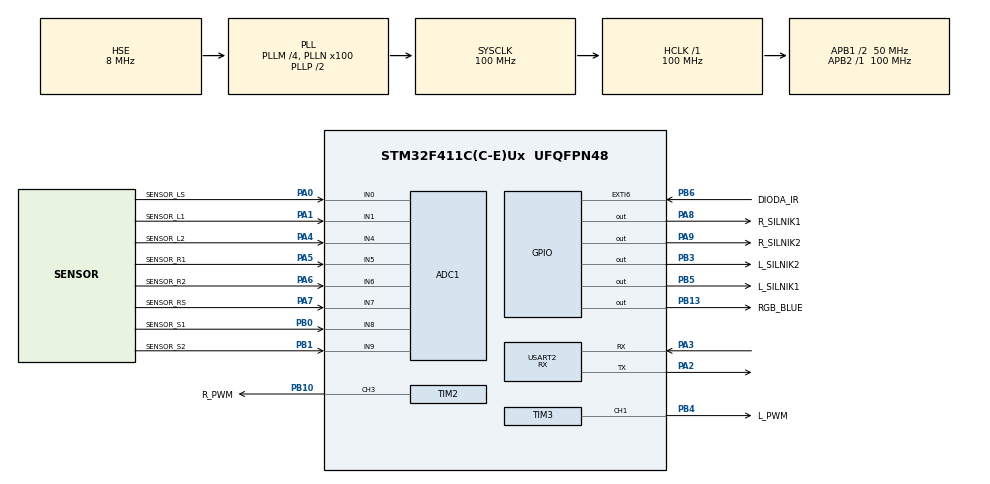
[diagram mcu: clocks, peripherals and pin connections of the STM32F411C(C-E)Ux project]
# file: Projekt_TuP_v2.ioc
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ADC1.Channel-0\#ChannelRegularConversion=ADC_CHANNEL_0
ADC1.Channel-1\#ChannelRegularConversion=ADC_CHANNEL_1
ADC1.Channel-2\#ChannelRegularConversion=ADC_CHANNEL_4
ADC1.Channel-3\#ChannelRegularConversion=ADC_CHANNEL_8
ADC1.Channel-4\#ChannelRegularConversion=ADC_CHANNEL_9
ADC1.Channel-5\#ChannelRegularConversion=ADC_CHANNEL_5
ADC1.Channel-6\#ChannelRegularConversion=ADC_CHANNEL_6
ADC1.Channel-7\#ChannelRegularConversion=ADC_CHANNEL_7
ADC1.ClockPrescaler=ADC_CLOCK_SYNC_PCLK_DIV8
ADC1.ContinuousConvMode=ENABLE
ADC1.DMAContinuousRequests=ENABLE
ADC1.InjNumberOfConversion=0
ADC1.NbrOfConversion=8
ADC1.NbrOfConversionFlag=1
ADC1.Rank-0\#ChannelRegularConversion=1
ADC1.Rank-1\#ChannelRegularConversion=2
ADC1.Rank-2\#ChannelRegularConversion=3
ADC1.Rank-3\#ChannelRegularConversion=4
ADC1.Rank-4\#ChannelRegularConversion=5
ADC1.Rank-5\#ChannelRegularConversion=6
ADC1.Rank-6\#ChannelRegularConversion=7
ADC1.Rank-7\#ChannelRegularConversion=8
ADC1.SamplingTime-0\#ChannelRegularConversion=ADC_SAMPLETIME_3CYCLES
ADC1.SamplingTime-1\#ChannelRegularConversion=ADC_SAMPLETIME_3CYCLES
ADC1.SamplingTime-2\#ChannelRegularConversion=ADC_SAMPLETIME_3CYCLES
ADC1.SamplingTime-3\#ChannelRegularConversion=ADC_SAMPLETIME_3CYCLES
ADC1.SamplingTime-4\#ChannelRegularConversion=ADC_SAMPLETIME_3CYCLES
ADC1.SamplingTime-5\#ChannelRegularConversion=ADC_SAMPLETIME_3CYCLES
ADC1.SamplingTime-6\#ChannelRegularConversion=ADC_SAMPLETIME_3CYCLES
ADC1.SamplingTime-7\#ChannelRegularConversion=ADC_SAMPLETIME_3CYCLES
ADC1.ScanConvMode=ENABLE
ADC1.master=1
Dma.ADC1.0.Direction=DMA_PERIPH_TO_MEMORY
Dma.ADC1.0.FIFOMode=DMA_FIFOMODE_DISABLE
Dma.ADC1.0.Instance=DMA2_Stream0
Dma.ADC1.0.MemDataAlignment=DMA_MDATAALIGN_HALFWORD
Dma.ADC1.0.MemInc=DMA_MINC_ENABLE
Dma.ADC1.0.Mode=DMA_CIRCULAR
Dma.ADC1.0.PeriphDataAlignment=DMA_PDATAALIGN_HALFWORD
Dma.ADC1.0.PeriphInc=DMA_PINC_DISABLE
Dma.ADC1.0.Priority=DMA_PRIORITY_LOW
Dma.Request0=ADC1
Mcu.Family=STM32F4
Mcu.Name=STM32F411C(C-E)Ux
Mcu.Package=UFQFPN48
NVIC.DMA2_Stream0_IRQn=true\:0\:0\:false\:false\:true\:false\:true
NVIC.EXTI9_5_IRQn=true\:0\:0\:false\:false\:true\:true\:true
NVIC.PriorityGroup=NVIC_PRIORITYGROUP_4
NVIC.TIM1_UP_TIM10_IRQn=true\:0\:0\:false\:false\:true\:true\:true
NVIC.USART2_IRQn=true\:0\:0\:false\:false\:true\:true\:true
PA0-WKUP.GPIO_Label=SENSOR_LS
PA0-WKUP.Signal=ADCx_IN0
PA1.GPIO_Label=SENSOR_L1
PA1.Signal=ADCx_IN1
PA2.Mode=IrDA
PA2.Signal=USART2_TX
PA3.Mode=IrDA
PA3.Signal=USART2_RX
PA4.GPIO_Label=SENSOR_L2
PA4.Signal=ADCx_IN4
PA5.GPIO_Label=SENSOR_R1
PA5.Signal=ADCx_IN5
PA6.GPIO_Label=SENSOR_R2
PA6.Signal=ADCx_IN6
PA7.GPIO_Label=SENSOR_RS
PA7.Signal=ADCx_IN7
PA8.GPIO_Label=R_SILNIK1
PA8.Signal=GPIO_Output
PA9.GPIO_Label=R_SILNIK2
PA9.Signal=GPIO_Output
PB0.GPIO_Label=SENSOR_S1
PB0.Signal=ADCx_IN8
PB1.GPIO_Label=SENSOR_S2
PB1.Signal=ADCx_IN9
PB10.GPIO_Label=R_PWM
PB10.Signal=S_TIM2_CH3
PB13.GPIO_Label=RGB_BLUE
PB13.Signal=GPIO_Output
PB3.GPIO_Label=L_SILNIK2
PB3.Signal=GPIO_Output
PB4.GPIO_Label=L_PWM
PB4.Signal=S_TIM3_CH1
PB5.GPIO_Label=L_SILNIK1
PB5.Signal=GPIO_Output
PB6.GPIO_Label=DIODA_IR
PB6.Signal=GPXTI6
PC14-OSC32_IN.Mode=LSE-External-Oscillator
PC14-OSC32_IN.Signal=RCC_OSC32_IN
PC15-OSC32_OUT.Mode=LSE-External-Oscillator
PC15-OSC32_OUT.Signal=RCC_OSC32_OUT
PH0\ -\ OSC_IN.Mode=HSE-External-Oscillator
PH0\ -\ OSC_IN.Signal=RCC_OSC_IN
PH1\ -\ OSC_OUT.Mode=HSE-External-Oscillator
PH1\ -\ OSC_OUT.Signal=RCC_OSC_OUT
ProjectManager.HeapSize=0x200
ProjectManager.StackSize=0x400
ProjectManager.TargetToolchain=TrueSTUDIO
RCC.48MHZClocksFreq_Value=50000000
RCC.AHBFreq_Value=100000000
RCC.APB1CLKDivider=RCC_HCLK_DIV2
RCC.APB1Freq_Value=50000000
RCC.APB1TimFreq_Value=100000000
RCC.APB2Freq_Value=100000000
RCC.APB2TimFreq_Value=100000000
RCC.CortexFreq_Value=100000000
RCC.HCLKFreq_Value=100000000
RCC.HSE_VALUE=8000000
RCC.HSI_VALUE=16000000
RCC.PLLM=4
RCC.PLLN=100
RCC.PLLSourceVirtual=RCC_PLLSOURCE_HSE
RCC.SYSCLKFreq_VALUE=100000000
RCC.SYSCLKSource=RCC_SYSCLKSOURCE_PLLCLK
RCC.VCOOutputFreq_Value=200000000
SH.ADCx_IN0.0=ADC1_IN0,IN0
SH.ADCx_IN1.0=ADC1_IN1,IN1
SH.ADCx_IN4.0=ADC1_IN4,IN4
SH.ADCx_IN5.0=ADC1_IN5,IN5
SH.ADCx_IN6.0=ADC1_IN6,IN6
SH.ADCx_IN7.0=ADC1_IN7,IN7
SH.ADCx_IN8.0=ADC1_IN8,IN8
SH.ADCx_IN9.0=ADC1_IN9,IN9
SH.S_TIM2_CH3.0=TIM2_CH3,PWM Generation3 CH3
SH.S_TIM3_CH1.0=TIM3_CH1,PWM Generation1 CH1
TIM10.Period=9999
TIM10.Prescaler=99
TIM2.Channel-PWM\ Generation3\ CH3=TIM_CHANNEL_3
TIM2.Period=49999
TIM2.Prescaler=4
TIM3.Channel-PWM\ Generation1\ CH1=TIM_CHANNEL_1
TIM3.Period=49999
TIM3.Prescaler=4
USART2.Mode=MODE_RX
USART2.VirtualMode=VM_IRDA
VP_TIM10_VS_ClockSourceINT.Mode=Enable_Timer
VP_TIM1_VS_ClockSourceINT.Mode=Internal
VP_TIM2_VS_ClockSourceINT.Mode=Internal
VP_TIM3_VS_ClockSourceINT.Mode=Internal
board=custom

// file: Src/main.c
/* USER CODE BEGIN Header */
/**
  ******************************************************************************
  * @file           : main.c
  * @brief          : Main program body
  ******************************************************************************
  * @attention
  *
  * <h2><center>&copy; Copyright (c) 2020 STMicroelectronics.
  * All rights reserved.</center></h2>
  *
  * This software component is licensed by ST under BSD 3-Clause license,
  * the "License"; You may not use this file except in compliance with the
  * License. You may obtain a copy of the License at:
  *                        opensource.org/licenses/BSD-3-Clause
  *
  ******************************************************************************
  */
/* USER CODE END Header */

#include "main.h"
#include "adc.h"
#include "dma.h"
#include "tim.h"
#include "usart.h"
#include "gpio.h"
#include "math.h"

/* USER CODE BEGIN PV */

uint16_t result;
char znak[7];
uint16_t SensorValue[8];
int ActualRight = 0;
int ActualLeft = 0;
float ActualSensorValue = 0;
float Error;
int SetPoint = 0;
int Kp = 10000;
int ControlVariable = 0;
uint16_t max = 49999;
uint16_t min = 10000;
float NewSensor[8];
float Value;
float Sensor;
float Sum;
float ValueOfSensor;
float Integral = 0;
float Ki = 1;
float Derivative = 0;
int Kd = 1000;
int limit = 6; //6
int IntegralLimit = 1000;
float LastError = 0;
uint8_t rx_buff[10];
int switch_on = 0;
int a = 0;

/* USER CODE END PV */

void SystemClock_Config(void);

/* USER CODE BEGIN 0 */

	void SpeedEngine(int RightValue, int LeftValue)
	{
		if (RightValue > max)	RightValue = max;
		if (LeftValue > max)	LeftValue = max;

		__HAL_TIM_SET_COMPARE(&htim2, TIM_CHANNEL_3, RightValue);
		__HAL_TIM_SET_COMPARE(&htim3, TIM_CHANNEL_1, LeftValue);

		ActualRight = RightValue;
		ActualLeft = LeftValue;
	}

	void HAL_Values()
	{
		  for (int i = 0; i<=7; i++)
		  {

			  	ValueOfSensor = SensorValue[i];

			  	if (ValueOfSensor <= 500)
			  		ValueOfSensor = 0;
			  	else if (ValueOfSensor < 3500 && ValueOfSensor > 500)
			  		{
			  		ValueOfSensor = ValueOfSensor / 3500;

			  		ValueOfSensor = ValueOfSensor * 100;
			  		ValueOfSensor = round(ValueOfSensor);
			  		ValueOfSensor = ValueOfSensor / 100;
			  		}
			  	else
			  		ValueOfSensor = 1;

			 NewSensor[i] = ValueOfSensor;

		  }
	}

	void HAL_Licz (float Sensor_LS, float Sensor_L1, float Sensor_L2, float Sensor_S1, float Sensor_S2, float Sensor_R1, float Sensor_R2, float Sensor_RS)
	{
		if (Sensor_RS > 0 && Sensor_LS == 0)
		{
			Sum = Sensor_RS * 8 + Sensor_R2 * 4;
			Value = Sum / (Sensor_RS + Sensor_R2);
		}

		else if (Sensor_LS > 0 && Sensor_RS == 0)
		{
			Sum = Sensor_LS * (-8) + Sensor_L1 * (-4);
			Value = Sum / (Sensor_LS + Sensor_L1);
		}

		else if (Sensor_R2 > 0 && Sensor_L1 == 0)
		{
			Sum = Sensor_R2 * 4 + Sensor_R1 * 2;
			Value = Sum / (Sensor_R2 + Sensor_R1);
		}

		else if (Sensor_L1 > 0 && Sensor_R2 == 0)
		{
			Sum = Sensor_L1 * (-4) + Sensor_L2 * (-2);
			Value = Sum / (Sensor_L1 + Sensor_L2);
		}

		else if (Sensor_R1 > 0)
		{
			Sum = Sensor_R1 * 2 + Sensor_S2;
			Value = Sum / (Sensor_R1 + Sensor_S2);
		}

		else if (Sensor_L2 > 0)
		{
			Sum = Sensor_L2 * (-2) - Sensor_S1;
			Value = Sum / (Sensor_L2 + Sensor_S1);
		}

		else
		{
			Sum = Sensor_S1 * (-1) + Sensor_S2;
			Value = Sum / (Sensor_S1 + Sensor_S2);
		}

		Value = Value * 100;
		Value = round(Value);
		Value = Value / 100;

		ActualSensorValue = Value;

	}

	void HAL_TIM_PeriodElapsedCallback(TIM_HandleTypeDef *htim) //przerwanie od licznika co 100ms
	{

		if (switch_on == 1)
		{
		// P
		Error = SetPoint + ActualSensorValue; //uchyb

		//I
		if (Integral < IntegralLimit && Integral > (IntegralLimit * (-1)))
		Integral = Integral + Error;
		else if (Integral > IntegralLimit)				Integral = IntegralLimit;
		else if (Integral < (IntegralLimit * (-1)))		Integral = IntegralLimit * (-1);

		//D
		Derivative = Error - LastError;
		LastError = Error;
		}

		else {}

		ControlVariable = round(Kp * Error) + round(Ki * Integral) + round(Kd * Derivative);

		if (ControlVariable < 0)
		 			ControlVariable = ControlVariable * (-1);
	}

/* USER CODE END 0 */

int main(void)
{

  /* MCU Configuration--------------------------------------------------------*/

  /* Reset of all peripherals, Initializes the Flash interface and the Systick. */
  HAL_Init();

  /* Configure the system clock */
  SystemClock_Config();

  /* Initialize all configured peripherals */
  MX_GPIO_Init();
  MX_DMA_Init();
  MX_TIM1_Init();
  MX_TIM2_Init();
  MX_TIM3_Init();
  MX_ADC1_Init();
  MX_USART2_IRDA_Init();
  MX_TIM10_Init();
  /* USER CODE BEGIN 2 */

  HAL_ADC_Start_DMA(&hadc1, (uint32_t*)SensorValue, 8);

  HAL_GPIO_WritePin(R_SILNIK1_GPIO_Port, R_SILNIK1_Pin, GPIO_PIN_RESET);
  HAL_GPIO_WritePin(R_SILNIK2_GPIO_Port, R_SILNIK2_Pin, GPIO_PIN_SET);

  HAL_GPIO_WritePin(L_SILNIK1_GPIO_Port, L_SILNIK1_Pin, GPIO_PIN_SET);
  HAL_GPIO_WritePin(L_SILNIK2_GPIO_Port, L_SILNIK2_Pin, GPIO_PIN_RESET);

  HAL_TIM_PWM_Start(&htim2, TIM_CHANNEL_3); //R_PWM
  HAL_TIM_PWM_Start(&htim3, TIM_CHANNEL_1); //L_PWM

  __HAL_TIM_SET_COMPARE(&htim2, TIM_CHANNEL_3, 10000);
  __HAL_TIM_SET_COMPARE(&htim3, TIM_CHANNEL_1, 10000);

  HAL_TIM_Base_Start_IT(&htim10);

  HAL_IRDA_Receive_IT(&hirda2, rx_buff, 10);

  HAL_GPIO_WritePin(RGB_BLUE_GPIO_Port, RGB_BLUE_Pin, GPIO_PIN_SET);

  /* USER CODE END 2 */

  /* Infinite loop */
  while (1)
  {

    /* USER CODE BEGIN 3 */

	  if (switch_on == 1)
	{

		  HAL_Values();

if (NewSensor[0] > 0 || NewSensor[1] > 0 || NewSensor[2] > 0 || NewSensor[3] > 0 || NewSensor[4] > 0 || NewSensor[5] > 0 || NewSensor[6] > 0 || NewSensor[7] > 0)
{

	HAL_Licz(NewSensor[0], NewSensor[1], NewSensor[2], NewSensor[3], NewSensor[4], NewSensor[5], NewSensor[6], NewSensor[7]);

	//if (ControlVariable < 0)
 	//		ControlVariable = ControlVariable * (-1);

	// Predkosci

	if (Error > limit)		SpeedEngine(0, max);

	else if (Error < (-limit)) SpeedEngine(max,0);

	else if (Error > 0 && Error < limit) //Prawo
	{

		SpeedEngine(max - ControlVariable, max);
		if (ActualRight < min) SpeedEngine(min, ActualLeft);

	}

	else if (Error < 0 && Error > (-limit))
	{
		SpeedEngine(max, max - ControlVariable);
		if (ActualLeft < min) SpeedEngine(ActualRight, min);
	}

	else
	{
		ActualRight = ((ActualRight + ActualLeft) / 2) + 5000;
		ActualLeft = ActualRight;
		SpeedEngine(ActualRight, ActualLeft);
	}

}
else	// zjecha³ na bia³y
	{
		//SpeedEngine(0,0);
	}

  }

	  else {SpeedEngine(0,0);}

  }
  /* USER CODE END 3 */
}

void SystemClock_Config(void)
{
  RCC_OscInitTypeDef RCC_OscInitStruct = {0};
  RCC_ClkInitTypeDef RCC_ClkInitStruct = {0};

  /** Configure the main internal regulator output voltage
  */
  __HAL_RCC_PWR_CLK_ENABLE();
  __HAL_PWR_VOLTAGESCALING_CONFIG(PWR_REGULATOR_VOLTAGE_SCALE1);
  /** Initializes the CPU, AHB and APB busses clocks
  */
  RCC_OscInitStruct.OscillatorType = RCC_OSCILLATORTYPE_HSE;
  RCC_OscInitStruct.HSEState = RCC_HSE_ON;
  RCC_OscInitStruct.PLL.PLLState = RCC_PLL_ON;
  RCC_OscInitStruct.PLL.PLLSource = RCC_PLLSOURCE_HSE;
  RCC_OscInitStruct.PLL.PLLM = 4;
  RCC_OscInitStruct.PLL.PLLN = 100;
  RCC_OscInitStruct.PLL.PLLP = RCC_PLLP_DIV2;
  RCC_OscInitStruct.PLL.PLLQ = 4;
  if (HAL_RCC_OscConfig(&RCC_OscInitStruct) != HAL_OK)
  {
    Error_Handler();
  }
  /** Initializes the CPU, AHB and APB busses clocks
  */
  RCC_ClkInitStruct.ClockType = RCC_CLOCKTYPE_HCLK|RCC_CLOCKTYPE_SYSCLK
                              |RCC_CLOCKTYPE_PCLK1|RCC_CLOCKTYPE_PCLK2;
  RCC_ClkInitStruct.SYSCLKSource = RCC_SYSCLKSOURCE_PLLCLK;
  RCC_ClkInitStruct.AHBCLKDivider = RCC_SYSCLK_DIV1;
  RCC_ClkInitStruct.APB1CLKDivider = RCC_HCLK_DIV2;
  RCC_ClkInitStruct.APB2CLKDivider = RCC_HCLK_DIV1;

  if (HAL_RCC_ClockConfig(&RCC_ClkInitStruct, FLASH_LATENCY_3) != HAL_OK)
  {
    Error_Handler();
  }
}

/* USER CODE BEGIN 4 */

void HAL_GPIO_EXTI_Callback(uint16_t GPIO_Pin)
{

	if (a < 3)
	{
		switch_on = 1;
		 HAL_GPIO_WritePin(RGB_BLUE_GPIO_Port, RGB_BLUE_Pin, GPIO_PIN_RESET);
	}

	else
	{
		switch_on = 0;
		a = 0;
		 HAL_GPIO_WritePin(RGB_BLUE_GPIO_Port, RGB_BLUE_Pin, GPIO_PIN_SET);
	}

	a = a + 1;

}

/* USER CODE END 4 */

void Error_Handler(void)
{
}

/************************ (C) COPYRIGHT STMicroelectronics *****END OF FILE****/
